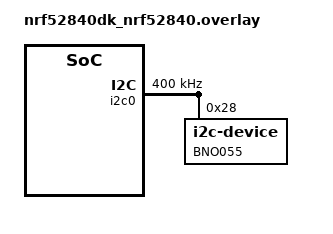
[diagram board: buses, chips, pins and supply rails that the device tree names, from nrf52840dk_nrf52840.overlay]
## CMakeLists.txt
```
# SPDX-License-Identifier: Apache-2.0

cmake_minimum_required(VERSION 3.20.0)
include(FetchContent)

FetchContent_Declare(
    BNO055_driver
    GIT_REPOSITORY https://github.com/boschsensortec/BNO055_driver.git
    GIT_TAG        master # release-1.10.0
)

# Get the source directory of the external project
FetchContent_GetProperties(BNO055_driver)
FetchContent_MakeAvailable(BNO055_driver)

find_package(Zephyr REQUIRED HINTS $ENV{ZEPHYR_BASE})

project(MyProject)

# Add your application source files
target_sources(app PRIVATE src/main.c)

# Include the directory containing the header file
zephyr_include_directories(${bno055_driver_SOURCE_DIR})
# add the c-file
target_sources(app PRIVATE ${bno055_driver_SOURCE_DIR}/bno055.c)
```

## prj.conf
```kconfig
#Enable I2C Driver
CONFIG_I2C=y

#Just for I2C debug purposes
#CONFIG_SHELL=y
#CONFIG_I2C_SHELL=y

#Enable fsupport for floating-point format specifiers
CONFIG_CBPRINTF_FP_SUPPORT=y

# enable the serial driver
CONFIG_SERIAL=y
```

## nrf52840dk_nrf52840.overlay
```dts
&i2c0 {
    status = "okay";
    clock-frequency = <I2C_BITRATE_FAST>;

    bno055: bno055@28 {
        compatible = "i2c-device";
        status = "okay";
        label = "BNO055";
        reg = <0x28>;
    };
};
```

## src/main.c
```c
#include <zephyr/kernel.h>
#include <zephyr/device.h>
#include <zephyr/devicetree.h>
#include <zephyr/sys/printk.h>
#include <zephyr/drivers/i2c.h>
#include "bno055.h" // Include bno055 header file

// Function prototypes to integrate Zephyr I2C functions into the BNO055 driver API
int8_t BNO055_I2C_bus_write(uint8_t dev_addr, uint8_t reg_addr, uint8_t *reg_data, uint8_t cnt);
int8_t BNO055_I2C_bus_read(uint8_t dev_addr, uint8_t reg_addr, uint8_t *reg_data, uint8_t cnt);
void BNO055_delay_msek(uint32_t msek);
int8_t BNO055_initialization_routine(uint8_t);

// Declaration of bno055 object
struct bno055_t my_bno055;
// Declaration of bno055_linear_accel_t struct to store sensor readings
struct bno055_accel_float_t accel_xyz;

// Define a macro to fetch the node identifier symbol for I2C0 based on its label
#define I2C0_NODE DT_NODELABEL(bno055)

// Get the device pointer for the I2C0 bus
static const struct i2c_dt_spec dev_i2c0 = I2C_DT_SPEC_GET(I2C0_NODE);

int main(void)
{
    int8_t err = 0;

    // Check if the I2C0 peripheral is ready
    if (!device_is_ready(dev_i2c0.bus))
    {
        printk("I2C bus %s is not ready!\n\r", dev_i2c0.bus->name);
        return -1;
    }
    else
        printk("I2C bus is ready: %s\n\r", dev_i2c0.bus->name);

    err = BNO055_initialization_routine(BNO055_I2C_ADDR2);

    if (err != 0)
    {
        printk("Error initializing the BNO055 sensor. Error n: %d\n\r", err);
        return -1;
    }

    err += bno055_set_operation_mode(BNO055_OPERATION_MODE_CONFIG);
    err += bno055_set_power_mode(BNO055_POWER_MODE_NORMAL);
    err += bno055_set_operation_mode(BNO055_OPERATION_MODE_NDOF);

    printk("Configurations Complete.\n\r");
    printk("Start scannings\n\r");

    while (1)
    {
        err = 0;
        struct bno055_accel_t accel_raw;
        err += bno055_read_accel_xyz(&accel_raw);

        // err += bno055_convert_float_accel_xyz_msq(&accel_xyz);

        if (err == 0)
            printk("X: %d ms2\tY: %d ms2 \tZ: %d ms2\n\r", accel_raw.x, accel_raw.y, accel_raw.z);
        else
            printk("Error reading data from the BNO055 sensor. Error n: %d\n\r", err);

        // Delay the loop to perform one temperature reading eachquarter of a second
        k_sleep(K_MSEC(200));
    }
}

// Integrate BNO055 API with Zephyr I2C write() and read() functions
int8_t BNO055_initialization_routine(uint8_t BNO055_I2C_ADDR)
{
    int8_t err = 0;

    my_bno055.bus_write = BNO055_I2C_bus_write;
    my_bno055.bus_read = BNO055_I2C_bus_read;
    my_bno055.delay_msec = BNO055_delay_msek;
    my_bno055.dev_addr = BNO055_I2C_ADDR;

    err += bno055_init(&my_bno055);

    return err;
}

int8_t BNO055_I2C_bus_write(uint8_t dev_addr, uint8_t reg_addr, uint8_t *reg_data, uint8_t cnt)
{
    int8_t com_rslt = BNO055_INIT_VALUE;
    uint8_t config[cnt + 1];
    config[0] = reg_addr;
    bytecpy(config + 1, reg_data, cnt);

    com_rslt = i2c_write(dev_i2c0.bus, config, cnt, dev_addr);

    if (com_rslt == 0)
        return BNO055_SUCCESS;
    else
        return BNO055_ERROR;
}

int8_t BNO055_I2C_bus_read(uint8_t dev_addr, uint8_t reg_addr, uint8_t *reg_data, uint8_t cnt)
{

    int8_t com_rslt = BNO055_INIT_VALUE;
    uint8_t config[1];
    config[0] = reg_addr;
    com_rslt = i2c_write_read(dev_i2c0.bus, dev_addr, config, 1, reg_data, cnt);

    if (com_rslt == 0)
        return BNO055_SUCCESS;
    else
        return BNO055_ERROR;
}

void BNO055_delay_msek(uint32_t msek)
{
    k_sleep(K_MSEC(msek));
}
```
